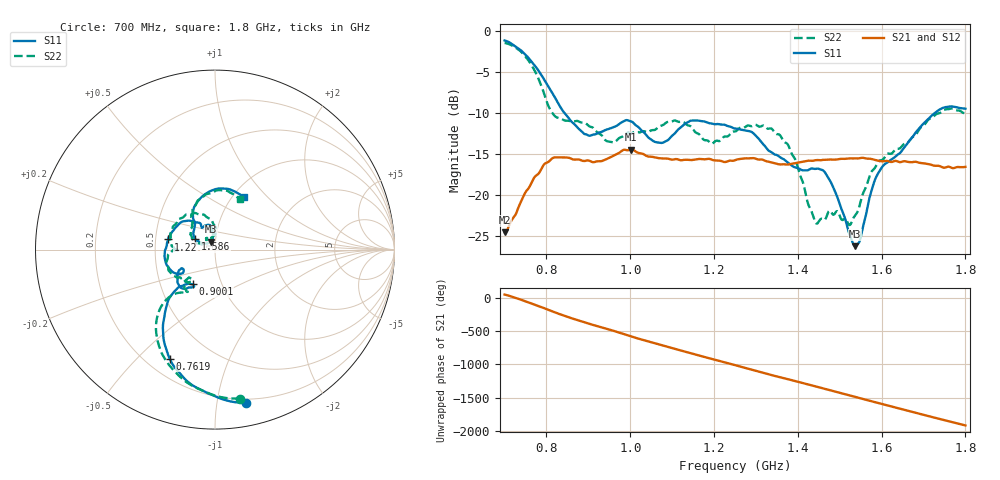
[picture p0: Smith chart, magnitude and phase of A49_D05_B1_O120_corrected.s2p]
! Created with skrf 1.9.0 (http://scikit-rf.org).
# Hz S RI R 50.0
!freq ReS11 ImS11 ReS21 ImS21 ReS12 ImS12 ReS22 ImS22
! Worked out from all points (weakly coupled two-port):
!   1601 points, 700 MHz to 1.8 GHz, reference 50 ohm
!   highest |S21| = -14.48 dB at 1.002 GHz (marker M1); lowest = -24.6 dB at 700 MHz (marker M2)
!   lowest |S11| = -26.2 dB at 1.537 GHz (marker M3), VSWR 1.10, Z = 47.6 + j4.13 ohm
!   |S11| at or under -10 dB: 842.4 MHz to 1.728 GHz (885.3 MHz wide, 68.9 % of centre)
!   |S22| runs from -23.7 to -1.5 dB; largest |S21 - S12| = 0.0034
!   S11 on the Smith chart (normalised r, x): 700 MHz: 0.17, -1.21; 761.9 MHz: 0.29, -0.63; 900.1 MHz: 0.73, -0.30; 1.22 GHz: 0.58, +0.07; 1.586 GHz: 0.79, +0.10; 1.8 GHz: 1.12, +0.74
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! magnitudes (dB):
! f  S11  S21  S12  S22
! 700 MHz  -1.2  -24.6  -24.4  -1.5
! 761.9 MHz  -3.6  -18.8  -18.7  -4.0
! 817.6 MHz  -7.9  -15.5  -15.6  -10.3
! 883.6 MHz  -12.3  -15.8  -15.7  -11.2
! 900.1 MHz  -12.8  -15.8  -15.8  -11.6
! 955.1 MHz  -11.9  -15.4  -15.4  -13.6
! 1.002 GHz  -11.1  -14.5  -14.6  -12.5
! 1.067 GHz  -13.6  -15.5  -15.5  -11.7
! 1.144 GHz  -11.0  -15.8  -15.8  -11.6
! 1.22 GHz  -11.4  -15.9  -16.0  -13.1
! 1.25 GHz  -11.9  -15.8  -15.7  -12.3
! 1.357 GHz  -15.4  -16.3  -16.2  -12.7
! 1.394 GHz  -16.7  -16.1  -16.1  -15.7
! 1.434 GHz  -16.8  -15.9  -15.8  -22.1
! 1.446 GHz  -16.8  -15.8  -15.8  -23.5
! 1.476 GHz  -18.2  -15.7  -15.7  -21.9
! 1.537 GHz  -26.2  -15.5  -15.6  -22.5
! 1.549 GHz  -25.4  -15.5  -15.5  -21.0
! 1.586 GHz  -17.9  -15.8  -15.8  -16.5
! 1.617 GHz  -15.9  -15.9  -15.9  -15.0
! 1.734 GHz  -9.7  -16.5  -16.5  -10.1
! 1.8 GHz  -9.5  -16.6  -16.6  -10.0
